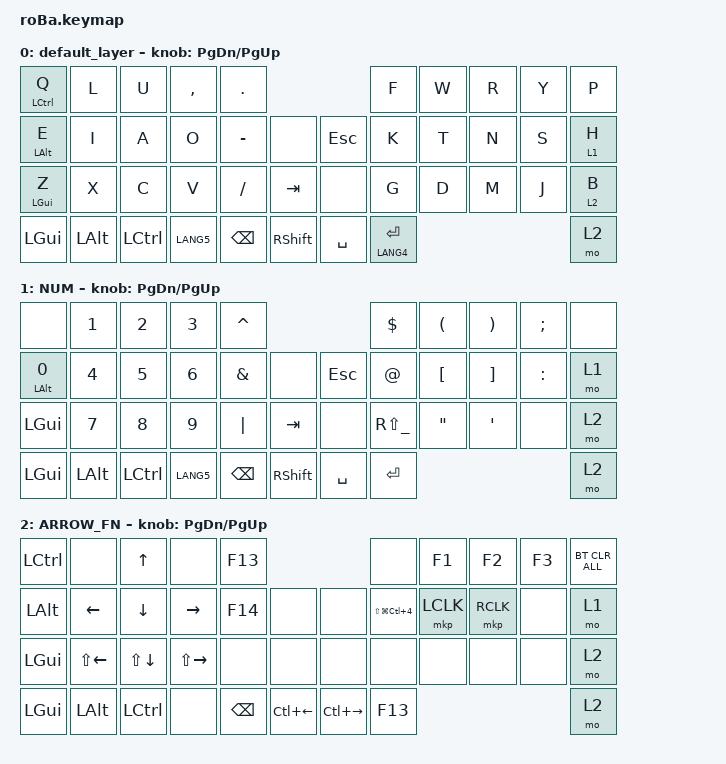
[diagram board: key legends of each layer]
#include <behaviors.dtsi>
#include <dt-bindings/zmk/bt.h>
#include <dt-bindings/zmk/keys.h>
#include <dt-bindings/zmk/pointing.h>

#define MOUSE 4
#define SCROLL 5
#define NUM 6

&mt {
    flavor = "balanced";
    quick-tap-ms = <0>;
};

/ {
    combos {
        compatible = "zmk,combos";

        tab {
            bindings = <&kp TAB>;
            key-positions = <11 12>;
        };

        shift_tab {
            bindings = <&kp LS(TAB)>;
            key-positions = <12 13>;
        };

        muhennkann {
            bindings = <&to_layer_0 INT_MUHENKAN>;
            key-positions = <11 10>;
        };

        double_quotation {
            bindings = <&kp DOUBLE_QUOTES>;
            key-positions = <20 21>;
        };

        eq {
            bindings = <&kp EQUAL>;
            key-positions = <24 25>;
        };
    };

    macros {
        to_layer_0: to_layer_0 {
            compatible = "zmk,behavior-macro-one-param";
            #binding-cells = <1>;
            bindings = <&to 0 &macro_param_1to1 &kp MACRO_PLACEHOLDER>;
            label = "TO_LAYER_0";
        };
    };

    behaviors {
        lt_to_layer_0: lt_to_layer_0 {
            compatible = "zmk,behavior-hold-tap";
            label = "LAYER_TAP_TO_0";
            bindings = <&mo>, <&to_layer_0>;

            #binding-cells = <2>;
            tapping-term-ms = <200>;
        };
    };

    keymap {
        compatible = "zmk,keymap";

        default_layer {
            bindings = <
&mt LCTRL Q     &kp L         &kp U      &kp COMMA  &kp PERIOD                                      &kp F            &kp W  &kp R  &kp Y  &kp P
&mt LEFT_ALT E  &kp I         &kp A      &kp O      &kp MINUS      &none                &kp ESCAPE  &kp K            &kp T  &kp N  &kp S  &lt 1 H
&mt LEFT_GUI Z  &kp X         &kp C      &kp V      &kp SLASH      &kp TAB              &none       &kp G            &kp D  &kp M  &kp J  &lt 2 B
&kp LEFT_GUI    &kp LEFT_ALT  &kp LCTRL  &kp LANG5  &kp BACKSPACE  &kp RIGHT_SHIFT      &kp SPACE   &mt LANG4 ENTER                       &mo 2
            >;

            sensor-bindings = <&inc_dec_kp PAGE_DOWN PAGE_UP>;
        };

        NUM {
            bindings = <
&none            &kp NUMBER_1  &kp NUMBER_2  &kp NUMBER_3  &kp CARET                                       &kp DLLR       &kp LPAR          &kp RPAR           &kp SEMICOLON  &none
&mt LEFT_ALT N0  &kp NUMBER_4  &kp N5        &kp NUMBER_6  &kp AMPS       &none                &kp ESCAPE  &kp AT         &kp LEFT_BRACKET  &kp RIGHT_BRACKET  &kp COLON      &mo 1
&kp LEFT_GUI     &kp N7        &kp N8        &kp N9        &kp PIPE       &kp TAB              &none       &kp RS(UNDER)  &kp DQT           &kp SINGLE_QUOTE   &none          &mo 2
&kp LEFT_GUI     &kp LEFT_ALT  &kp LCTRL     &kp LANG5     &kp BACKSPACE  &kp RIGHT_SHIFT      &kp SPACE   &kp ENTER                                                          &mo 2
            >;

            sensor-bindings = <&inc_dec_kp PAGE_DOWN PAGE_UP>;
        };

        ARROW_FN {
            bindings = <
&kp LCTRL     &none               &kp UP_ARROW        &none                &kp F13                                                     &none                     &kp F1     &kp F2     &kp F3  &bt BT_CLR_ALL
&kp LEFT_ALT  &kp LEFT_ARROW      &kp DOWN_ARROW      &kp RIGHT_ARROW      &kp F14        &none                   &none                &kp LS(LG(LC(NUMBER_4)))  &mkp LCLK  &mkp RCLK  &none   &mo 1
&kp LEFT_GUI  &kp LS(LEFT_ARROW)  &kp LS(DOWN_ARROW)  &kp LS(RIGHT_ARROW)  &none          &none                   &none                &none                     &none      &none      &none   &mo 2
&kp LEFT_GUI  &kp LEFT_ALT        &kp LCTRL           &none                &kp BACKSPACE  &kp LC(LEFT_ARROW)      &kp LC(RIGHT_ARROW)  &kp F13                                                 &mo 2
            >;

            sensor-bindings = <&inc_dec_kp PAGE_DOWN PAGE_UP>;
        };
    };
};
